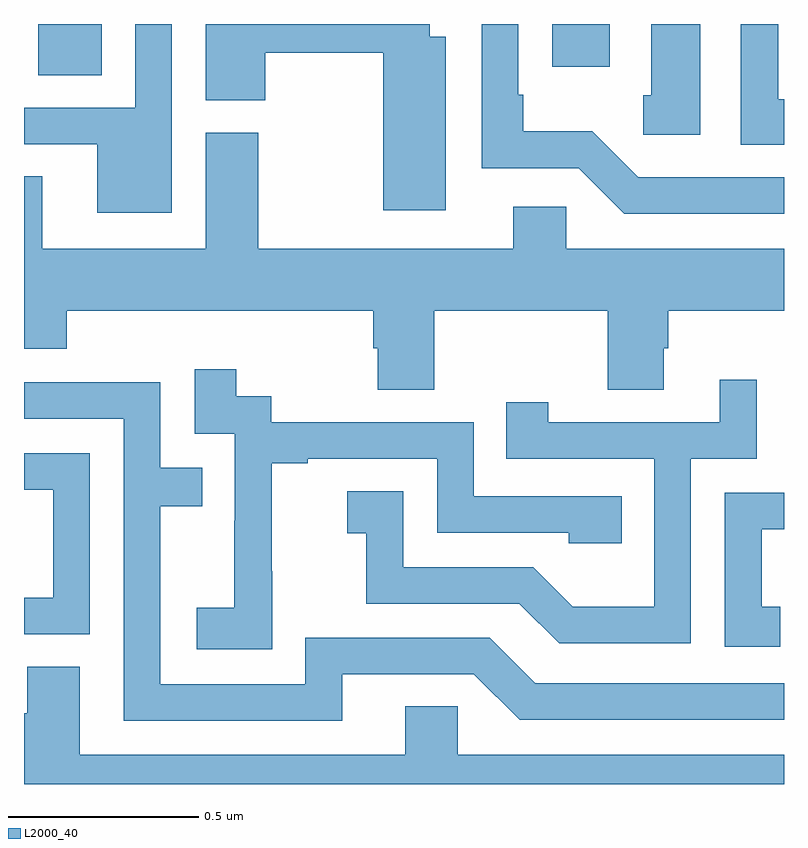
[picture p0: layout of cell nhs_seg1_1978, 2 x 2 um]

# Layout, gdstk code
import gdstk
lib = gdstk.Library(unit=1e-6, precision=1e-09)
def R(c, l, rs):  # rectangles x0, y0, x1, y1
    for r in rs: c.add(gdstk.rectangle(r[:2], r[2:], *l))
def P(c, l, *ps):  # polygons
    for p in ps: c.add(gdstk.Polygon(p, *l))
L2000_40 = (2000, 40)

nhs_seg1_1978 = lib.new_cell('nhs_seg1_1978')
R(nhs_seg1_1978, L2000_40, [(136.037,507.064,136.204,507.199), (137.39,507.087,137.542,507.199)])
P(nhs_seg1_1978, L2000_40, [(138,507.001),(137.985,507.001),(137.985,507.199),(137.886,507.199),(137.886,506.881),(138,506.881)],
  [(137.11,507.166),(137.068,507.166),(137.068,507.199),(136.478,507.199),(136.478,506.998),(136.635,506.998),(136.635,507.124),(136.946,507.124),(136.946,506.709),(137.11,506.709)],
  [(138,506.796),(137.616,506.796),(137.495,506.917),(137.314,506.917),(137.314,507.013),(137.301,507.013),(137.301,507.199),(137.205,507.199),(137.205,506.82),(137.46,506.82),(137.58,506.7),(138,506.7)],
  [(137.779,507.199),(137.651,507.199),(137.651,507.012),(137.629,507.012),(137.629,506.907),(137.779,506.907)],
  [(136.389,507.199),(136.293,507.199),(136.293,506.979),(136,506.979),(136,506.883),(136.193,506.883),(136.193,506.702),(136.389,506.702)],
  [(137.079,506.444),(137.536,506.444),(137.536,506.236),(137.683,506.236),(137.683,506.346),(137.696,506.346),(137.696,506.444),(138,506.444),(138,506.608),(137.427,506.608),(137.427,506.718),(137.288,506.718),(137.288,506.608),(136.617,506.608),(136.617,506.913),(136.478,506.913),(136.478,506.608),(136.048,506.608),(136.048,506.798),(136,506.798),(136,506.345),(136.112,506.345),(136.112,506.444),(136.919,506.444),(136.919,506.346),(136.931,506.346),(136.931,506.236),(137.079,506.236)],
  [(136.653,505.759),(136.652,505.759),(136.652,506.043),(136.747,506.043),(136.747,506.055),(137.088,506.055),(137.088,505.86),(137.433,505.86),(137.433,505.833),(137.573,505.833),(137.573,505.956),(137.184,505.956),(137.184,506.151),(136.65,506.151),(136.65,506.22),(136.558,506.22),(136.558,506.29),(136.449,506.29),(136.449,506.121),(136.554,506.121),(136.554,505.892),(136.553,505.892),(136.553,505.663),(136.455,505.663),(136.455,505.553),(136.653,505.553)],
  [(137.754,506.055),(137.928,506.055),(137.928,506.263),(137.831,506.263),(137.831,506.151),(137.38,506.151),(137.38,506.203),(137.269,506.203),(137.269,506.055),(137.658,506.055),(137.658,505.666),(137.444,505.666),(137.34,505.77),(136.998,505.77),(136.998,505.969),(136.851,505.969),(136.851,505.859),(136.9,505.859),(136.9,505.674),(137.303,505.674),(137.408,505.569),(137.754,505.569)],
  [(136.837,505.488),(137.184,505.488),(137.304,505.368),(138,505.368),(138,505.464),(137.346,505.464),(137.226,505.584),(136.74,505.584),(136.74,505.461),(136.359,505.461),(136.359,505.93),(136.469,505.93),(136.469,506.031),(136.359,506.031),(136.359,506.256),(136,506.256),(136,506.16),(136.263,506.16),(136.263,505.365),(136.837,505.365)],
  [(136.173,506.07),(136,506.07),(136,505.974),(136.077,505.974),(136.077,505.689),(136,505.689),(136,505.593),(136.173,505.593)],
  [(137.99,505.665),(137.941,505.665),(137.941,505.869),(138,505.869),(138,505.965),(137.844,505.965),(137.844,505.56),(137.99,505.56)],
  [(138,505.276),(137.142,505.276),(137.142,505.403),(137.003,505.403),(137.003,505.276),(136.147,505.276),(136.147,505.508),(136.008,505.508),(136.008,505.385),(136,505.385),(136,505.199),(138,505.199)])

lib.write_gds('nhs_seg1_1978.gds')
